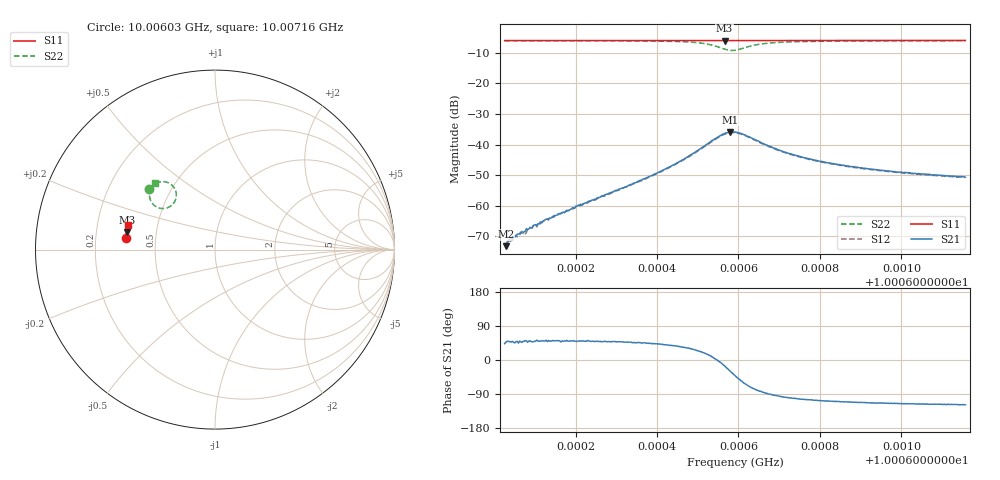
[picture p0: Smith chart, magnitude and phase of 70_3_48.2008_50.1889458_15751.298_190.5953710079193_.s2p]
#  HZ  S  RI  R  50.00
! Rohde & Schwarz Vector Network Analyzer
! Rohde-Schwarz,ZNB20-2Port,1311601062101988,3.16
! Created: UTC 3/20/2024, 11:39:09 AM
! freq[Hz]  re:S11  im:S11  re:S21  im:S21  re:S12  im:S12  re:S22  im:S22
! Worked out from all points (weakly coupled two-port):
!   401 points, 10.00603 GHz to 10.00716 GHz, reference 50 ohm
!   highest |S21| = -35.85 dB at 10.00658 GHz (marker M1); lowest = -73.2 dB at 10.00603 GHz (marker M2)
!   lowest |S11| = -6.0 dB at 10.00657 GHz (marker M3), VSWR 3.01, Z = 16.8 + j4.42 ohm
!   |S11| at or under -10 dB: nowhere
!   |S22| runs from -9.2 to -6.0 dB; largest |S21 - S12| = 0.0011
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1.0006025e10  -0.4976 0.0639  0.000167 0.000158  0.00017 0.000179  -0.3651 0.3395
1.0006028e10  -0.4976 0.0642  0.00015 0.000159  0.000147 0.000186  -0.3651 0.3398
1.0006037e10  -0.4975 0.0647  0.000189 0.00021  0.000169 0.000228  -0.3645 0.3403
1.0006059e10  -0.4973 0.0662  0.000247 0.000242  0.000239 0.000227  -0.363 0.342
1.0006076e10  -0.4972 0.0673  0.000243 0.000302  0.00022 0.000268  -0.3618 0.3431
1.0006102e10  -0.4971 0.069  0.000317 0.000374  0.000292 0.000395  -0.3602 0.3451
1.0006156e10  -0.4967 0.0725  0.00044 0.000549  0.000439 0.000586  -0.356 0.3491
1.0006215e10  -0.4963 0.0763  0.000655 0.000785  0.000638 0.000816  -0.351 0.3538
1.0006405e10  -0.4944 0.0887  0.00262 0.00235  0.00249 0.00244  -0.3207 0.3732
1.0006464e10  -0.4936 0.0928  0.00475 0.00316  0.00446 0.00333  -0.2964 0.3787
1.0006512e10  -0.4926 0.096  0.00854 0.00309  0.00815 0.0034  -0.2586 0.3715
1.000654e10  -0.4921 0.0975  0.0122 0.000995  0.0118 0.00161  -0.228 0.3453
1.0006566e10  -0.4912 0.0987  0.0146 -0.00405  0.0143 -0.00327  -0.2162 0.2923
1.000658e10  -0.4912 0.0992  0.0139 -0.00813  0.0139 -0.00702  -0.2304 0.2585
1.0006591e10  -0.4912 0.0997  0.012 -0.0107  0.0123 -0.00962  -0.253 0.2386
1.0006611e10  -0.4915 0.1005  0.00753 -0.0126  0.00806 -0.012  -0.2985 0.2291
1.0006654e10  -0.4916 0.1032  0.00148 -0.0109  0.00184 -0.0105  -0.3525 0.2622
1.0006716e10  -0.4911 0.1076  -0.00112 -0.00737  -0.000683 -0.00728  -0.3651 0.3034
1.0006781e10  -0.4906 0.1117  -0.00153 -0.00548  -0.00123 -0.00542  -0.362 0.3256
1.0006869e10  -0.4895 0.1175  -0.00161 -0.00417  -0.00138 -0.00417  -0.3554 0.3423
1.0006971e10  -0.4879 0.1241  -0.00154 -0.00334  -0.00133 -0.00336  -0.3481 0.3543
1.0007157e10  -0.4853 0.1357  -0.00138 -0.00258  -0.00126 -0.00264  -0.3364 0.3693
